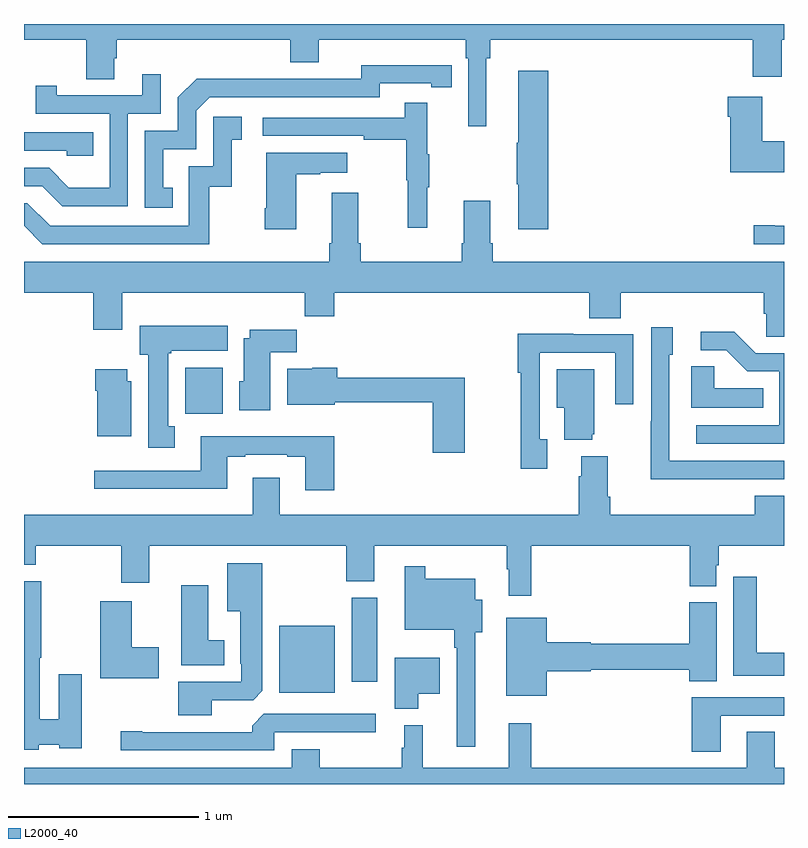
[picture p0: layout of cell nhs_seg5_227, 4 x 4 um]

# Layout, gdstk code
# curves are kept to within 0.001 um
import gdstk
lib = gdstk.Library(unit=1e-6, precision=1e-09)
def R(c, l, rs):  # rectangles x0, y0, x1, y1
    for r in rs: c.add(gdstk.rectangle(r[:2], r[2:], *l))
def P(c, l, *ps):  # polygons
    for p in ps: c.add(gdstk.Polygon(p, *l))
L2000_40 = (2000, 40)

nhs_seg5_227 = lib.new_cell('nhs_seg5_227')
R(nhs_seg5_227, L2000_40, [(124.343,897.278,124.636,897.631), (124.724,897.336,124.858,897.78), (123.848,898.748,124.045,898.99)])
P(nhs_seg5_227, L2000_40, [(125.434,900.62),(125.453,900.62),(125.453,900.716),(126.836,900.716),(126.836,900.522),(126.988,900.522),(126.988,900.716),(127,900.716),(127,900.799),(123,900.799),(123,900.716),(123.328,900.716),(123.328,900.508),(123.475,900.508),(123.475,900.618),(123.488,900.618),(123.488,900.716),(124.4,900.716),(124.4,900.599),(124.552,900.599),(124.552,900.716),(125.324,900.716),(125.324,900.62),(125.337,900.62),(125.337,900.261),(125.434,900.261)],
  [(123.782,899.937),(123.733,899.937),(123.733,900.141),(123.906,900.141),(123.906,900.342),(123.978,900.414),(124.872,900.414),(124.872,900.486),(125.144,900.486),(125.144,900.466),(125.252,900.466),(125.252,900.582),(124.776,900.583),(124.776,900.51),(124.316,900.51),(124.316,900.512),(123.908,900.512),(123.81,900.414),(123.81,900.237),(123.636,900.237),(123.636,899.832),(123.782,899.832)],
  [(125.759,900.553),(125.6,900.553),(125.6,900.173),(125.593,900.173),(125.593,899.956),(125.6,899.956),(125.6,899.718),(125.759,899.718)],
  [(123.546,900.327),(123.72,900.327),(123.72,900.535),(123.623,900.535),(123.623,900.423),(123.172,900.423),(123.172,900.475),(123.061,900.475),(123.061,900.327),(123.45,900.327),(123.45,899.938),(123.236,899.938),(123.132,900.042),(123,900.042),(123,899.946),(123.095,899.946),(123.2,899.841),(123.546,899.841)],
  [(127,900.183),(126.886,900.183),(126.886,900.415),(126.704,900.415),(126.704,900.311),(126.716,900.311),(126.716,900.02),(127,900.02)],
  [(125.123,899.939),(125.134,899.939),(125.134,900.113),(125.123,900.113),(125.123,900.385),(125.005,900.385),(125.005,900.306),(124.257,900.306),(124.257,900.21),(124.789,900.21),(124.789,900.19),(125.013,900.19),(125.013,899.976),(125.02,899.976),(125.02,899.727),(125.123,899.727)],
  [(123.976,899.943),(124.094,899.943),(124.094,900.189),(124.147,900.189),(124.147,900.31),(123.996,900.31),(123.996,900.051),(123.867,900.051),(123.867,899.736),(123.138,899.736),(123.018,899.856),(123,899.856),(123,899.736),(123.096,899.64),(123.976,899.64)],
  [(123.365,900.228),(123,900.228),(123,900.132),(123.225,900.132),(123.225,900.105),(123.365,900.105)],
  [(124.432,900.007),(124.559,900.007),(124.559,900.017),(124.702,900.017),(124.702,900.121),(124.274,900.121),(124.274,899.83),(124.267,899.83),(124.267,899.718),(124.432,899.718)],
  [(123,899.384),(123.365,899.384),(123.365,899.19),(123.517,899.19),(123.517,899.384),(124.477,899.384),(124.477,899.26),(124.634,899.26),(124.634,899.384),(125.975,899.384),(125.975,899.251),(126.14,899.251),(126.14,899.384),(126.893,899.384),(126.893,899.275),(126.906,899.275),(126.906,899.152),(127,899.152),(127,899.548),(125.468,899.548),(125.468,899.644),(125.455,899.644),(125.455,899.869),(125.315,899.869),(125.315,899.644),(125.303,899.644),(125.303,899.548),(124.772,899.548),(124.772,899.644),(124.759,899.644),(124.759,899.911),(124.619,899.911),(124.619,899.644),(124.607,899.644),(124.607,899.548),(123,899.548)],
  [(127,899.736),(126.952,899.736),(126.952,899.741),(126.84,899.741),(126.84,899.64),(127,899.64)],
  [(123.793,898.682),(123.76,898.682),(123.76,899.065),(123.774,899.065),(123.774,899.078),(124.072,899.078),(124.072,899.212),(123.608,899.212),(123.608,899.058),(123.653,899.058),(123.653,898.569),(123.793,898.569)],
  [(126.761,898.404),(127,898.404),(127,898.5),(126.396,898.5),(126.396,899.058),(126.415,899.058),(126.415,899.203),(126.3,899.203),(126.3,898.709),(126.298,898.709),(126.298,898.403),(126.761,898.403)],
  [(124.297,899.072),(124.436,899.072),(124.436,899.191),(124.187,899.191),(124.187,899.146),(124.157,899.146),(124.157,898.92),(124.133,898.92),(124.133,898.766),(124.297,898.766)],
  [(127,899.067),(126.852,899.067),(126.739,899.18),(126.561,899.18),(126.561,899.082),(126.695,899.082),(126.806,898.971),(126.975,898.971),(126.975,898.686),(126.537,898.686),(126.537,898.59),(127,898.59)],
  [(125.755,898.614),(125.715,898.614),(125.715,899.07),(126.111,899.07),(126.111,898.797),(126.207,898.797),(126.207,899.166),(125.891,899.166),(125.891,899.168),(125.599,899.168),(125.599,898.963),(125.614,898.963),(125.614,898.458),(125.755,898.458)],
  [(126.89,898.882),(126.633,898.882),(126.633,898.997),(126.512,898.997),(126.512,898.778),(126.89,898.778)],
  [(125.32,898.936),(124.649,898.936),(124.649,898.99),(124.518,898.99),(124.518,898.984),(124.385,898.984),(124.385,898.796),(124.636,898.796),(124.636,898.807),(125.15,898.807),(125.15,898.542),(125.32,898.542)],
  [(123.565,898.92),(123.544,898.92),(123.544,898.981),(123.374,898.981),(123.374,898.868),(123.386,898.868),(123.386,898.628),(123.565,898.628)],
  [(125.99,898.641),(126.001,898.641),(126.001,898.981),(125.804,898.981),(125.804,898.778),(125.843,898.778),(125.843,898.61),(125.99,898.61)],
  [(124.634,898.63),(123.929,898.63),(123.929,898.449),(123.369,898.449),(123.369,898.352),(124.069,898.352),(124.069,898.521),(124.165,898.521),(124.165,898.533),(124.385,898.533),(124.385,898.521),(124.481,898.521),(124.481,898.344),(124.634,898.344)],
  [(125.669,898.052),(126.503,898.052),(126.503,897.841),(126.643,897.841),(126.643,897.951),(126.656,897.951),(126.656,898.052),(127,898.052),(127,898.315),(126.845,898.315),(126.845,898.216),(126.086,898.216),(126.086,898.312),(126.073,898.312),(126.073,898.525),(125.933,898.525),(125.933,898.418),(125.921,898.418),(125.921,898.216),(124.345,898.216),(124.345,898.411),(124.205,898.411),(124.205,898.216),(123,898.216),(123,897.953),(123.063,897.953),(123.063,898.052),(123.511,898.052),(123.511,897.858),(123.658,897.858),(123.658,898.052),(124.696,898.052),(124.696,897.865),(124.843,897.865),(124.843,898.052),(125.541,898.052),(125.541,897.929),(125.552,897.929),(125.552,897.789),(125.669,897.789)],
  [(123.988,897.24),(124.206,897.24),(124.255,897.289),(124.255,897.961),(124.07,897.961),(124.07,897.707),(124.139,897.707),(124.139,897.433),(124.143,897.433),(124.143,897.336),(123.812,897.336),(123.812,897.161),(123.988,897.161)],
  [(125.374,897.599),(125.413,897.599),(125.413,897.769),(125.374,897.769),(125.374,897.88),(125.113,897.88),(125.113,897.946),(125.004,897.946),(125.004,897.611),(125.265,897.611),(125.265,897.515),(125.277,897.515),(125.277,896.994),(125.374,896.994)],
  [(127,897.49),(126.856,897.49),(126.856,897.889),(126.734,897.889),(126.734,897.368),(127,897.368)],
  [(123.078,897.005),(123.186,897.005),(123.186,896.987),(123.304,896.987),(123.304,897.376),(123.182,897.376),(123.182,897.14),(123.082,897.14),(123.082,897.463),(123.09,897.463),(123.09,897.866),(123,897.866),(123,896.978),(123.078,896.978)],
  [(124.054,897.556),(123.97,897.556),(123.97,897.844),(123.827,897.844),(123.827,897.425),(124.054,897.425)],
  [(123.709,897.519),(123.568,897.519),(123.568,897.76),(123.401,897.76),(123.401,897.356),(123.709,897.356)],
  [(125.752,897.392),(125.982,897.392),(125.982,897.4),(126.5,897.4),(126.5,897.34),(126.646,897.34),(126.646,897.756),(126.5,897.756),(126.5,897.536),(125.982,897.536),(125.982,897.544),(125.752,897.544),(125.752,897.673),(125.537,897.673),(125.537,897.263),(125.752,897.263)],
  [(125.074,897.275),(125.188,897.275),(125.188,897.463),(124.952,897.463),(124.952,897.194),(125.074,897.194)],
  [(126.667,897.159),(127,897.159),(127,897.255),(126.515,897.255),(126.515,896.97),(126.667,896.97)],
  [(124.317,897.072),(124.852,897.072),(124.852,897.168),(124.263,897.168),(124.202,897.106),(124.202,897.072),(123.622,897.072),(123.622,897.077),(123.51,897.077),(123.51,896.976),(124.317,896.976)],
  [(127,896.884),(126.951,896.884),(126.951,897.074),(126.803,897.074),(126.803,896.884),(125.669,896.884),(125.669,897.118),(125.552,897.118),(125.552,896.884),(125.099,896.884),(125.099,897.109),(125,897.109),(125,896.991),(124.989,896.991),(124.989,896.884),(124.557,896.884),(124.557,896.983),(124.409,896.983),(124.409,896.884),(123,896.884),(123,896.799),(127,896.799)])

lib.write_gds('nhs_seg5_227.gds')
